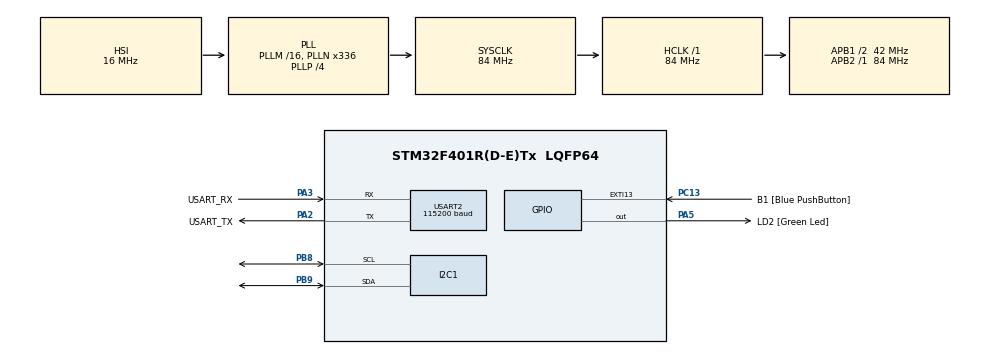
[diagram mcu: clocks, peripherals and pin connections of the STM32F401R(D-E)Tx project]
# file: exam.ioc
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Dma.I2C1_RX.2.Direction=DMA_PERIPH_TO_MEMORY
Dma.I2C1_RX.2.FIFOMode=DMA_FIFOMODE_DISABLE
Dma.I2C1_RX.2.Instance=DMA1_Stream0
Dma.I2C1_RX.2.MemDataAlignment=DMA_MDATAALIGN_BYTE
Dma.I2C1_RX.2.MemInc=DMA_MINC_ENABLE
Dma.I2C1_RX.2.Mode=DMA_NORMAL
Dma.I2C1_RX.2.PeriphDataAlignment=DMA_PDATAALIGN_BYTE
Dma.I2C1_RX.2.PeriphInc=DMA_PINC_DISABLE
Dma.I2C1_RX.2.Priority=DMA_PRIORITY_LOW
Dma.I2C1_TX.1.Direction=DMA_MEMORY_TO_PERIPH
Dma.I2C1_TX.1.FIFOMode=DMA_FIFOMODE_DISABLE
Dma.I2C1_TX.1.Instance=DMA1_Stream7
Dma.I2C1_TX.1.MemDataAlignment=DMA_MDATAALIGN_BYTE
Dma.I2C1_TX.1.MemInc=DMA_MINC_ENABLE
Dma.I2C1_TX.1.Mode=DMA_NORMAL
Dma.I2C1_TX.1.PeriphDataAlignment=DMA_PDATAALIGN_BYTE
Dma.I2C1_TX.1.PeriphInc=DMA_PINC_DISABLE
Dma.I2C1_TX.1.Priority=DMA_PRIORITY_LOW
Dma.Request0=USART2_TX
Dma.Request1=I2C1_TX
Dma.Request2=I2C1_RX
Dma.Request3=USART2_RX
Dma.USART2_RX.3.Direction=DMA_PERIPH_TO_MEMORY
Dma.USART2_RX.3.FIFOMode=DMA_FIFOMODE_DISABLE
Dma.USART2_RX.3.Instance=DMA1_Stream5
Dma.USART2_RX.3.MemDataAlignment=DMA_MDATAALIGN_BYTE
Dma.USART2_RX.3.MemInc=DMA_MINC_ENABLE
Dma.USART2_RX.3.Mode=DMA_NORMAL
Dma.USART2_RX.3.PeriphDataAlignment=DMA_PDATAALIGN_BYTE
Dma.USART2_RX.3.PeriphInc=DMA_PINC_DISABLE
Dma.USART2_RX.3.Priority=DMA_PRIORITY_LOW
Dma.USART2_TX.0.Direction=DMA_MEMORY_TO_PERIPH
Dma.USART2_TX.0.FIFOMode=DMA_FIFOMODE_DISABLE
Dma.USART2_TX.0.Instance=DMA1_Stream6
Dma.USART2_TX.0.MemDataAlignment=DMA_MDATAALIGN_BYTE
Dma.USART2_TX.0.MemInc=DMA_MINC_ENABLE
Dma.USART2_TX.0.Mode=DMA_NORMAL
Dma.USART2_TX.0.PeriphDataAlignment=DMA_PDATAALIGN_BYTE
Dma.USART2_TX.0.PeriphInc=DMA_PINC_DISABLE
Dma.USART2_TX.0.Priority=DMA_PRIORITY_LOW
Mcu.Family=STM32F4
Mcu.Name=STM32F401R(D-E)Tx
Mcu.Package=LQFP64
NVIC.DMA1_Stream0_IRQn=true\:1\:0\:true\:false\:true\:false\:true\:true
NVIC.DMA1_Stream5_IRQn=true\:0\:0\:false\:false\:true\:false\:true\:true
NVIC.DMA1_Stream6_IRQn=true\:1\:0\:true\:false\:true\:false\:true\:true
NVIC.DMA1_Stream7_IRQn=true\:1\:0\:true\:false\:true\:false\:true\:true
NVIC.I2C1_ER_IRQn=true\:0\:0\:false\:false\:true\:true\:true\:true
NVIC.I2C1_EV_IRQn=true\:0\:0\:false\:false\:true\:true\:true\:true
NVIC.PriorityGroup=NVIC_PRIORITYGROUP_1
NVIC.TIM3_IRQn=true\:0\:0\:false\:false\:true\:true\:true\:true
NVIC.USART2_IRQn=true\:0\:0\:false\:false\:true\:true\:true\:true
PA13.GPIO_Label=TMS
PA13.Mode=Serial_Wire
PA13.Signal=SYS_JTMS-SWDIO
PA14.GPIO_Label=TCK
PA14.Mode=Serial_Wire
PA14.Signal=SYS_JTCK-SWCLK
PA2.GPIO_Label=USART_TX
PA2.GPIO_Mode=GPIO_MODE_AF_PP
PA2.GPIO_PuPd=GPIO_NOPULL
PA2.GPIO_Speed=GPIO_SPEED_FREQ_LOW
PA2.Mode=Asynchronous
PA2.Signal=USART2_TX
PA3.GPIO_Label=USART_RX
PA3.GPIO_Mode=GPIO_MODE_AF_PP
PA3.GPIO_PuPd=GPIO_NOPULL
PA3.GPIO_Speed=GPIO_SPEED_FREQ_LOW
PA3.Mode=Asynchronous
PA3.Signal=USART2_RX
PA5.GPIO_Label=LD2 [Green Led]
PA5.GPIO_Mode=GPIO_MODE_OUTPUT_PP
PA5.GPIO_PuPd=GPIO_NOPULL
PA5.GPIO_Speed=GPIO_SPEED_FREQ_LOW
PA5.Signal=GPIO_Output
PB3.GPIO_Label=SWO
PB3.Signal=SYS_JTDO-SWO
PB8.Mode=I2C
PB8.Signal=I2C1_SCL
PB9.Mode=I2C
PB9.Signal=I2C1_SDA
PC13-ANTI_TAMP.GPIO_Label=B1 [Blue PushButton]
PC13-ANTI_TAMP.GPIO_ModeDefaultEXTI=GPIO_MODE_IT_FALLING
PC13-ANTI_TAMP.GPIO_PuPd=GPIO_NOPULL
PC13-ANTI_TAMP.Signal=GPXTI13
PC14-OSC32_IN.Mode=LSE-External-Oscillator
PC14-OSC32_IN.Signal=RCC_OSC32_IN
PC15-OSC32_OUT.Mode=LSE-External-Oscillator
PC15-OSC32_OUT.Signal=RCC_OSC32_OUT
PH0\ -\ OSC_IN.Mode=HSE-External-Clock-Source
PH0\ -\ OSC_IN.Signal=RCC_OSC_IN
PH1\ -\ OSC_OUT.Mode=HSE-External-Clock-Source
PH1\ -\ OSC_OUT.Signal=RCC_OSC_OUT
ProjectManager.HeapSize=0x200
ProjectManager.StackSize=0x400
ProjectManager.TargetToolchain=STM32CubeIDE
RCC.48MHZClocksFreq_Value=48000000
RCC.AHBFreq_Value=84000000
RCC.APB1CLKDivider=RCC_HCLK_DIV2
RCC.APB1Freq_Value=42000000
RCC.APB1TimFreq_Value=84000000
RCC.APB2Freq_Value=84000000
RCC.APB2TimFreq_Value=84000000
RCC.CortexFreq_Value=84000000
RCC.HCLKFreq_Value=84000000
RCC.HSE_VALUE=8000000
RCC.HSI_VALUE=16000000
RCC.PLLN=336
RCC.PLLP=RCC_PLLP_DIV4
RCC.PLLQ=7
RCC.SYSCLKFreq_VALUE=84000000
RCC.SYSCLKSource=RCC_SYSCLKSOURCE_PLLCLK
RCC.VCOOutputFreq_Value=336000000
TIM3.Period=9999
TIM3.Prescaler=8399
USART2.BaudRate=115200
USART2.VirtualMode=VM_ASYNC
VP_TIM3_VS_ClockSourceINT.Mode=Internal
board=NUCLEO-F401RE

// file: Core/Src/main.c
/* USER CODE BEGIN Header */
/**
  ******************************************************************************
  * @file           : main.c
  * @brief          : Main program body
  ******************************************************************************
  * @attention
  *
  * Copyright (c) 2024 STMicroelectronics.
  * All rights reserved.
  *
  * This software is licensed under terms that can be found in the LICENSE file
  * in the root directory of this software component.
  * If no LICENSE file comes with this software, it is provided AS-IS.
  *
  ******************************************************************************
  */
/* USER CODE END Header */
#include "main.h"

/* USER CODE BEGIN Includes */
#include <stdio.h>
#include <stdlib.h>
/* USER CODE END Includes */

I2C_HandleTypeDef hi2c1;
DMA_HandleTypeDef hdma_i2c1_tx;
DMA_HandleTypeDef hdma_i2c1_rx;

TIM_HandleTypeDef htim3;

UART_HandleTypeDef huart2;
DMA_HandleTypeDef hdma_usart2_tx;
DMA_HandleTypeDef hdma_usart2_rx;

void SystemClock_Config(void);
static void MX_GPIO_Init(void);
static void MX_DMA_Init(void);
static void MX_USART2_UART_Init(void);
static void MX_I2C1_Init(void);
static void MX_TIM3_Init(void);

/* USER CODE BEGIN 0 */
uint16_t address = 0b10010000;	// address of temperature sensor
uint8_t reg_address = 0x00;		// address of temperature register
uint8_t array[2];				// array to contain bytes acquired from the temperature register
uint8_t rx_buffer[64];			// buffer to contain what is received through UART
float threshold = 25;
char string[128];				// string to be transmitted through UART
int length;						// length of string
/* USER CODE END 0 */

int main(void)
{

  /* MCU Configuration--------------------------------------------------------*/

  /* Reset of all peripherals, Initializes the Flash interface and the Systick. */
  HAL_Init();

  /* Configure the system clock */
  SystemClock_Config();

  /* Initialize all configured peripherals */
  MX_GPIO_Init();
  MX_DMA_Init();
  MX_USART2_UART_Init();
  MX_I2C1_Init();
  MX_TIM3_Init();
  /* USER CODE BEGIN 2 */
  HAL_TIM_Base_Start_IT(&htim3);

  HAL_I2C_Master_Transmit_DMA(&hi2c1, address, &reg_address, 1); // write temperature register address on pointer register
  HAL_UARTEx_ReceiveToIdle_DMA(&huart2, rx_buffer, sizeof(rx_buffer));
  /* USER CODE END 2 */

  /* Infinite loop */
  while (1)
  {

  }
}

void SystemClock_Config(void)
{
  RCC_OscInitTypeDef RCC_OscInitStruct = {0};
  RCC_ClkInitTypeDef RCC_ClkInitStruct = {0};

  /** Configure the main internal regulator output voltage
  */
  __HAL_RCC_PWR_CLK_ENABLE();
  __HAL_PWR_VOLTAGESCALING_CONFIG(PWR_REGULATOR_VOLTAGE_SCALE2);

  /** Initializes the RCC Oscillators according to the specified parameters
  * in the RCC_OscInitTypeDef structure.
  */
  RCC_OscInitStruct.OscillatorType = RCC_OSCILLATORTYPE_HSI;
  RCC_OscInitStruct.HSIState = RCC_HSI_ON;
  RCC_OscInitStruct.HSICalibrationValue = RCC_HSICALIBRATION_DEFAULT;
  RCC_OscInitStruct.PLL.PLLState = RCC_PLL_ON;
  RCC_OscInitStruct.PLL.PLLSource = RCC_PLLSOURCE_HSI;
  RCC_OscInitStruct.PLL.PLLM = 16;
  RCC_OscInitStruct.PLL.PLLN = 336;
  RCC_OscInitStruct.PLL.PLLP = RCC_PLLP_DIV4;
  RCC_OscInitStruct.PLL.PLLQ = 7;
  if (HAL_RCC_OscConfig(&RCC_OscInitStruct) != HAL_OK)
  {
    Error_Handler();
  }

  /** Initializes the CPU, AHB and APB buses clocks
  */
  RCC_ClkInitStruct.ClockType = RCC_CLOCKTYPE_HCLK|RCC_CLOCKTYPE_SYSCLK
                              |RCC_CLOCKTYPE_PCLK1|RCC_CLOCKTYPE_PCLK2;
  RCC_ClkInitStruct.SYSCLKSource = RCC_SYSCLKSOURCE_PLLCLK;
  RCC_ClkInitStruct.AHBCLKDivider = RCC_SYSCLK_DIV1;
  RCC_ClkInitStruct.APB1CLKDivider = RCC_HCLK_DIV2;
  RCC_ClkInitStruct.APB2CLKDivider = RCC_HCLK_DIV1;

  if (HAL_RCC_ClockConfig(&RCC_ClkInitStruct, FLASH_LATENCY_2) != HAL_OK)
  {
    Error_Handler();
  }
}

static void MX_I2C1_Init(void)
{

  hi2c1.Instance = I2C1;
  hi2c1.Init.ClockSpeed = 100000;
  hi2c1.Init.DutyCycle = I2C_DUTYCYCLE_2;
  hi2c1.Init.OwnAddress1 = 0;
  hi2c1.Init.AddressingMode = I2C_ADDRESSINGMODE_7BIT;
  hi2c1.Init.DualAddressMode = I2C_DUALADDRESS_DISABLE;
  hi2c1.Init.OwnAddress2 = 0;
  hi2c1.Init.GeneralCallMode = I2C_GENERALCALL_DISABLE;
  hi2c1.Init.NoStretchMode = I2C_NOSTRETCH_DISABLE;
  if (HAL_I2C_Init(&hi2c1) != HAL_OK)
  {
    Error_Handler();
  }

}

static void MX_TIM3_Init(void)
{

  TIM_ClockConfigTypeDef sClockSourceConfig = {0};
  TIM_MasterConfigTypeDef sMasterConfig = {0};

  htim3.Instance = TIM3;
  htim3.Init.Prescaler = 8399;
  htim3.Init.CounterMode = TIM_COUNTERMODE_UP;
  htim3.Init.Period = 9999;
  htim3.Init.ClockDivision = TIM_CLOCKDIVISION_DIV1;
  htim3.Init.AutoReloadPreload = TIM_AUTORELOAD_PRELOAD_DISABLE;
  if (HAL_TIM_Base_Init(&htim3) != HAL_OK)
  {
    Error_Handler();
  }
  sClockSourceConfig.ClockSource = TIM_CLOCKSOURCE_INTERNAL;
  if (HAL_TIM_ConfigClockSource(&htim3, &sClockSourceConfig) != HAL_OK)
  {
    Error_Handler();
  }
  sMasterConfig.MasterOutputTrigger = TIM_TRGO_RESET;
  sMasterConfig.MasterSlaveMode = TIM_MASTERSLAVEMODE_DISABLE;
  if (HAL_TIMEx_MasterConfigSynchronization(&htim3, &sMasterConfig) != HAL_OK)
  {
    Error_Handler();
  }

}

static void MX_USART2_UART_Init(void)
{

  huart2.Instance = USART2;
  huart2.Init.BaudRate = 115200;
  huart2.Init.WordLength = UART_WORDLENGTH_8B;
  huart2.Init.StopBits = UART_STOPBITS_1;
  huart2.Init.Parity = UART_PARITY_NONE;
  huart2.Init.Mode = UART_MODE_TX_RX;
  huart2.Init.HwFlowCtl = UART_HWCONTROL_NONE;
  huart2.Init.OverSampling = UART_OVERSAMPLING_16;
  if (HAL_UART_Init(&huart2) != HAL_OK)
  {
    Error_Handler();
  }

}

static void MX_DMA_Init(void)
{

  /* DMA controller clock enable */
  __HAL_RCC_DMA1_CLK_ENABLE();

  /* DMA interrupt init */
  /* DMA1_Stream0_IRQn interrupt configuration */
  HAL_NVIC_SetPriority(DMA1_Stream0_IRQn, 1, 0);
  HAL_NVIC_EnableIRQ(DMA1_Stream0_IRQn);
  /* DMA1_Stream5_IRQn interrupt configuration */
  HAL_NVIC_SetPriority(DMA1_Stream5_IRQn, 0, 0);
  HAL_NVIC_EnableIRQ(DMA1_Stream5_IRQn);
  /* DMA1_Stream6_IRQn interrupt configuration */
  HAL_NVIC_SetPriority(DMA1_Stream6_IRQn, 1, 0);
  HAL_NVIC_EnableIRQ(DMA1_Stream6_IRQn);
  /* DMA1_Stream7_IRQn interrupt configuration */
  HAL_NVIC_SetPriority(DMA1_Stream7_IRQn, 1, 0);
  HAL_NVIC_EnableIRQ(DMA1_Stream7_IRQn);

}

static void MX_GPIO_Init(void)
{
  GPIO_InitTypeDef GPIO_InitStruct = {0};

  /* GPIO Ports Clock Enable */
  __HAL_RCC_GPIOC_CLK_ENABLE();
  __HAL_RCC_GPIOH_CLK_ENABLE();
  __HAL_RCC_GPIOA_CLK_ENABLE();
  __HAL_RCC_GPIOB_CLK_ENABLE();

  /*Configure GPIO pin Output Level */
  HAL_GPIO_WritePin(LD2_GPIO_Port, LD2_Pin, GPIO_PIN_RESET);

  /*Configure GPIO pin : B1_Pin */
  GPIO_InitStruct.Pin = B1_Pin;
  GPIO_InitStruct.Mode = GPIO_MODE_IT_FALLING;
  GPIO_InitStruct.Pull = GPIO_NOPULL;
  HAL_GPIO_Init(B1_GPIO_Port, &GPIO_InitStruct);

  /*Configure GPIO pin : LD2_Pin */
  GPIO_InitStruct.Pin = LD2_Pin;
  GPIO_InitStruct.Mode = GPIO_MODE_OUTPUT_PP;
  GPIO_InitStruct.Pull = GPIO_NOPULL;
  GPIO_InitStruct.Speed = GPIO_SPEED_FREQ_LOW;
  HAL_GPIO_Init(LD2_GPIO_Port, &GPIO_InitStruct);

}

/* USER CODE BEGIN 4 */
void HAL_TIM_PeriodElapsedCallback(TIM_HandleTypeDef *htim) {
	if (htim->Instance == TIM3) {
		HAL_I2C_Master_Receive_DMA(&hi2c1, address+1, array, 2); // address+1 -> read mode
	}
}

void HAL_I2C_MasterRxCpltCallback(I2C_HandleTypeDef *hi2c) {
	int16_t value = (array[0] << 8) | array[1];
	float temp = value/256.0;
	if (temp >= threshold) {
		HAL_GPIO_WritePin(GPIOA, GPIO_PIN_5, GPIO_PIN_SET);
	} else {
		HAL_GPIO_WritePin(GPIOA, GPIO_PIN_5, GPIO_PIN_RESET);
	}
	length = snprintf(string, sizeof(string), "Temperature: %.1fºC\n", temp);
	HAL_UART_Transmit_DMA(&huart2, string, length);
}

void HAL_UARTEx_RxEventCallback(UART_HandleTypeDef *huart, uint16_t Size) {
	if (huart->Instance == USART2) {
		threshold = atof(rx_buffer);

		HAL_UARTEx_ReceiveToIdle_DMA(&huart2, rx_buffer, sizeof(rx_buffer));
	}
}

/* USER CODE END 4 */

void Error_Handler(void)
{
  __disable_irq();
  while (1)
  {
  }
}
